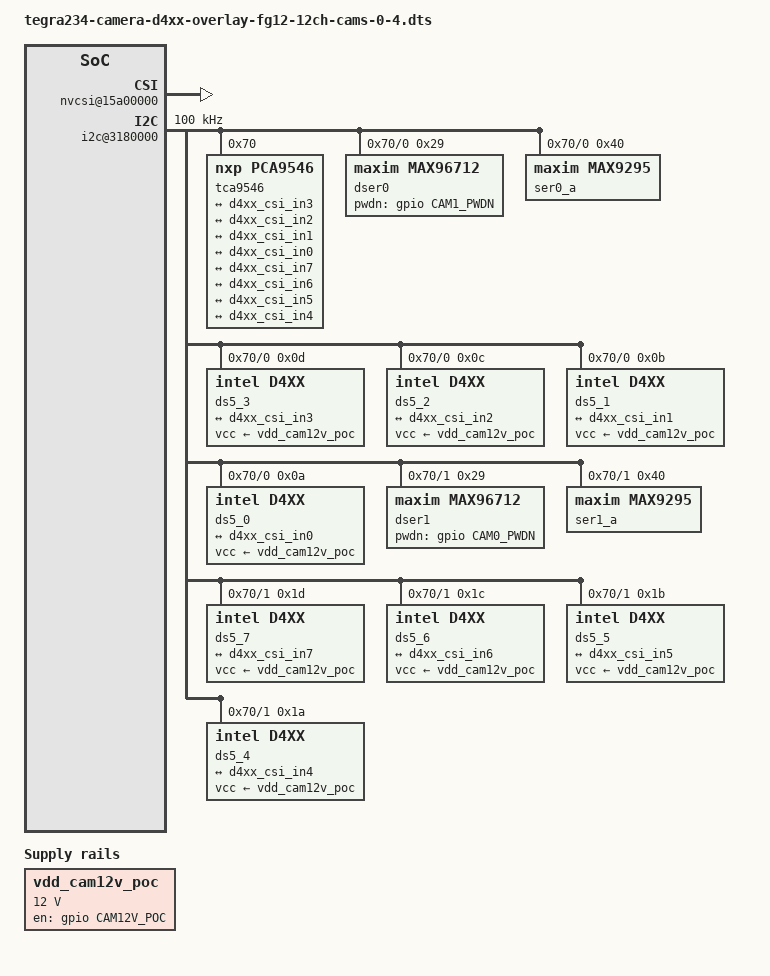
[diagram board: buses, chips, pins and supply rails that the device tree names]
// SPDX-License-Identifier: GPL-2.0-only
// SPDX-FileCopyrightText: Copyright (c) 2018-2024, NVIDIA CORPORATION & AFFILIATES. All rights reserved.

/dts-v1/;
/plugin/;

#include <dt-bindings/clock/tegra234-clock.h>
#include <dt-bindings/gpio/tegra234-gpio.h>
#include <dt-bindings/tegra234-p3737-0000+p3701-0000.h>

#define CAM12V_POC	TEGRA234_MAIN_GPIO(AC, 7) //Pin119 --- GPIO12 E10 CAM_VDD_SYS_EN/493 Low enable
#define CAMERA_I2C_MUX_BUS(x) (0x1E + x)

#define CAM0_PWDN	TEGRA234_MAIN_GPIO(H, 6)  //Pin93 --- UART4_CTS L49/397 - MAX96724_1 PWDN
#define CAM1_PWDN	TEGRA234_MAIN_GPIO(H, 3)  //Pin95 --- UART4_TX L5/394 - MAX926724_2 PWDN
#define CAM2_PWDN	TEGRA234_MAIN_GPIO(AC, 0) //Pin90 --- GPIO15 F10/486 - MAX9296_3 PWDN
#define CAM3_PWDN	TEGRA234_MAIN_GPIO(AC, 1) //Pin92 --- GPIO16 E9/487 - MAX9296_4 PWDN

#define CAM0_SYNC	TEGRA234_AON_GPIO(AA, 4)  //E59/GPIO6  CAM_FSYNC3/320 -- MAX9296_1 MFP0 (CAM0/1)
#define CAM1_SYNC	TEGRA234_AON_GPIO(BB, 2)  //A62/GPIO10 CAM_FSYNC1/326-- MAX9296_1 MFP5  (CAM0/1  ucsi_cgg IRQ OTG)
#define CAM2_SYNC	TEGRA234_AON_GPIO(CC, 3)  //D60/SPI2_CS0_N CAM_INT4/331 -- MAX9296_2 MFP0 (CAM2/3)
#define CAM3_SYNC	TEGRA234_AON_GPIO(AA, 7)  //F59/GPIO7  CAM_FSYNC2/323  -- MAX9296_2 MFP5  (CAM2/3)
#define CAM_SYNCALL	TEGRA234_AON_GPIO(CC, 0)  //E61/SPI2_CLK CAM_INT1/328 -- MAX9296x4 MFP6

//IIC-9 MAX96724-CSI4/5
//IIC-10 MAX96724-CSI0/1
//IIC-11 MAX9296-CSI6/7 (P/N Switch)
//IIC-12 MAX9296-CSI2/3 (P/N Switch)
/* camera control gpio definitions */
/ {
	overlay-name = "Orin FG12-12ch D457S";
	jetson-header-name = "Jetson AGX CSI Connector";
	compatible = JETSON_COMPATIBLE;

	fragment@1 {
		target-path = "/";
		__overlay__ {
			vdd_cam12v_poc: regulator-vdd-cam12v-poc {
					compatible = "regulator-fixed";
					regulator-name = "vdd-cam12v-poc";
					regulator-min-microvolt = <12000000>;
					regulator-max-microvolt = <12000000>;
					gpio = <&gpio CAM12V_POC GPIO_ACTIVE_HIGH>;
					enable-active-high;
			};
		};
	};

	fragment@0 {
		status = "okay";
		target-path = "/";
		__overlay__ {
			status = "okay";
			tegra-capture-vi {
				status = "okay";
				num-channels = <8>;
				ports {
					status = "okay";
					#address-cells = <1>;
					#size-cells = <0>;
					port@0 {
						status = "okay";
						reg = <0>;
						d4xx_vi_in0: endpoint {
							status = "okay";
							vc-id = <0>;
							port-index = <4>;
							bus-width = <4>;
							remote-endpoint = <&d4xx_csi_out0>;
						};
					};
					port@1 {
						status = "okay";
						reg = <1>;
						d4xx_vi_in1: endpoint {
							status = "okay";
							vc-id = <1>;
							port-index = <4>;
							bus-width = <4>;
							remote-endpoint = <&d4xx_csi_out1>;
						};
					};
					port@2 {
						status = "okay";
						reg = <2>;
						d4xx_vi_in2: endpoint {
							status = "okay";
							vc-id = <2>;
							port-index = <4>;
							bus-width = <4>;
							remote-endpoint = <&d4xx_csi_out2>;
						};
					};
					port@3 {
						status = "okay";
						reg = <3>;
						d4xx_vi_in3: endpoint {
							status = "okay";
							vc-id = <3>;
							port-index = <4>;
							bus-width = <4>;
							remote-endpoint = <&d4xx_csi_out3>;
						};
					};
					port@4 {
						status = "okay";
						reg = <4>;
						d4xx_vi_in4: endpoint {
							status = "okay";
							vc-id = <0>;
							port-index = <0>;
							bus-width = <4>;
							remote-endpoint = <&d4xx_csi_out4>;
						};
					};
					port@5 {
						status = "okay";
						reg = <5>;
						d4xx_vi_in5: endpoint {
							status = "okay";
							vc-id = <1>;
							port-index = <0>;
							bus-width = <4>;
							remote-endpoint = <&d4xx_csi_out5>;
						};
					};
					port@6 {
						status = "okay";
						reg = <6>;
						d4xx_vi_in6: endpoint {
							status = "okay";
							vc-id = <2>;
							port-index = <0>;
							bus-width = <4>;
							remote-endpoint = <&d4xx_csi_out6>;
						};
					};
					port@7 {
						status = "okay";
						reg = <7>;
						d4xx_vi_in7: endpoint {
							status = "okay";
							vc-id = <3>;
							port-index = <0>;
							bus-width = <4>;
							remote-endpoint = <&d4xx_csi_out7>;
						};
					};
				};
			};

			// tegra-camera-platform {
			// 	status = "okay";
			// 	compatible = "nvidia, tegra-camera-platform";
			// 	modules {
			// 		status = "okay";
			// 		module0 {
			// 			status = "okay";
			// 			badge = "fzcam_frontl";
			// 			position = "frontl";
			// 			orientation = "1";
			// 			drivernode0 {
			// 				status = "okay";
			// 				pcl_id = "v4l2_sensor";
			// 				sysfs-device-tree = "/sys/firmware/devicetree/base/bus@0/i2c@3180000/tca9546@70/i2c@0/fzcam_3a@3a";
			// 			};
			// 		};
			// 		module1 {
			// 			status = "okay";
			// 			badge = "fzcam_frontr";
			// 			position = "frontr";
			// 			orientation = "1";
			// 			drivernode0 {
			// 				status = "okay";
			// 				pcl_id = "v4l2_sensor";
			// 				sysfs-device-tree = "/sys/firmware/devicetree/base/bus@0/i2c@3180000/tca9546@70/i2c@0/fzcam_3b@3b";
			// 			};
			// 		};					
			// 		module2 {
			// 			status = "okay";
			// 			badge = "fzcam_frontu";
			// 			position = "frontu";
			// 			orientation = "1";
			// 			drivernode0 {
			// 				status = "okay";
			// 				pcl_id = "v4l2_sensor";
			// 				sysfs-device-tree = "/sys/firmware/devicetree/base/bus@0/i2c@3180000/tca9546@70/i2c@0/fzcam_3c@3c";
			// 			};
			// 		};					
			// 		module3 {
			// 			status = "okay";
			// 			badge = "fzcam_frontd";
			// 			position = "frontd";
			// 			orientation = "1";
			// 			drivernode0 {
			// 				status = "okay";
			// 				pcl_id = "v4l2_sensor";
			// 				sysfs-device-tree = "/sys/firmware/devicetree/base/bus@0/i2c@3180000/tca9546@70/i2c@0/fzcam_3d@3d";
			// 			};
			// 		};
			// 		module4 {
			// 			status = "okay";
			// 			badge = "fzcam_rearl";
			// 			position = "rearl";
			// 			orientation = "1";
			// 			drivernode0 {
			// 				status = "okay";
			// 				pcl_id = "v4l2_sensor";
			// 				sysfs-device-tree = "/sys/firmware/devicetree/base/bus@0/i2c@3180000/tca9546@70/i2c@1/fzcam_3a@3a";
			// 			};
			// 		};
			// 		module5 {
			// 			status = "okay";
			// 			badge = "fzcam_rearr";
			// 			position = "rearr";
			// 			orientation = "1";
			// 			drivernode0 {
			// 				status = "okay";
			// 				pcl_id = "v4l2_sensor";
			// 				sysfs-device-tree = "/sys/firmware/devicetree/base/bus@0/i2c@3180000/tca9546@70/i2c@1/fzcam_3b@3b";
			// 			};
			// 		};
			// 		module6 {
			// 			status = "okay";
			// 			badge = "fzcam_rearu";
			// 			position = "rearu";
			// 			orientation = "1";
			// 			drivernode0 {
			// 				status = "okay";
			// 				pcl_id = "v4l2_sensor";
			// 				sysfs-device-tree = "/sys/firmware/devicetree/base/bus@0/i2c@3180000/tca9546@70/i2c@1/fzcam_3c@3c";
			// 			};
			// 		};
			// 		module7 {
			// 			status = "okay";
			// 			badge = "fzcam_reard";
			// 			position = "reard";
			// 			orientation = "1";
			// 			drivernode0 {
			// 				status = "okay";
			// 				pcl_id = "v4l2_sensor";
			// 				sysfs-device-tree = "/sys/firmware/devicetree/base/bus@0/i2c@3180000/tca9546@70/i2c@1/fzcam_3d@3d";
			// 			};
			// 		};
			// 		module8 {
			// 			status = "okay";
			// 			badge = "fzcam_toprearl";
			// 			position = "toprearl";
			// 			orientation = "1";
			// 			drivernode0 {
			// 				status = "okay";
			// 				pcl_id = "v4l2_sensor";
			// 				sysfs-device-tree = "/sys/firmware/devicetree/base/bus@0/i2c@3180000/tca9546@70/i2c@2/fzcam_3a@3a";
			// 			};
			// 		};
			// 		module9 {
			// 			status = "okay";
			// 			badge = "fzcam_toprearr";
			// 			position = "toprearr";
			// 			orientation = "1";
			// 			drivernode0 {
			// 				status = "okay";
			// 				pcl_id = "v4l2_sensor";
			// 				sysfs-device-tree = "/sys/firmware/devicetree/base/bus@0/i2c@3180000/tca9546@70/i2c@2/fzcam_3b@3b";
			// 			};
			// 		};
			// 		module10 {
			// 			status = "okay";
			// 			badge = "fzcam_toprearu";
			// 			position = "toprearu";
			// 			orientation = "1";
			// 			drivernode0 {
			// 				status = "okay";
			// 				pcl_id = "v4l2_sensor";
			// 				sysfs-device-tree = "/sys/firmware/devicetree/base/bus@0/i2c@3180000/tca9546@70/i2c@2/fzcam_3c@3c";
			// 			};
			// 		};
			// 		module11 {
			// 			status = "okay";
			// 			badge = "fzcam_topreard";
			// 			position = "topreard";
			// 			orientation = "1";
			// 			drivernode0 {
			// 				status = "okay";
			// 				pcl_id = "v4l2_sensor";
			// 				sysfs-device-tree = "/sys/firmware/devicetree/base/bus@0/i2c@3180000/tca9546@70/i2c@2/fzcam_3d@3d";
			// 			};
			// 		};
			// 	};
			// };

			bus@0 {
				status = "okay";
				host1x@13e00000 {
					status = "okay";
					nvcsi@15a00000 {
						status = "okay";
						num-channels = <8>;
						#address-cells = <1>;
						#size-cells = <0>;
						channel@0 {
							status = "okay";
							reg = <0>;
							ports {
								status = "okay";
								port@0 {
									status = "okay";
									reg = <0>;
									d4xx_csi_in0: endpoint@0 {
										status = "okay";
										port-index = <4>;
										bus-width = <4>;
										remote-endpoint = <&ds5_0_out>;
									};
								};
								port@1 {
									status = "okay";
									reg = <1>;
									d4xx_csi_out0: endpoint@1 {
										status = "okay";
										remote-endpoint = <&d4xx_vi_in0>;
									};
								};
							};
						};
						channel@1 {
							status = "okay";
							reg = <1>;
							ports {
								status = "okay";
								port@0 {
									status = "okay";
									reg = <0>;
									d4xx_csi_in1: endpoint@2 {
										status = "okay";
										port-index = <4>;
										bus-width = <4>;
										remote-endpoint = <&ds5_1_out>;
									};
								};
								port@1 {
									status = "okay";
									reg = <1>;
									d4xx_csi_out1: endpoint@3 {
										status = "okay";
										remote-endpoint = <&d4xx_vi_in1>;
									};
								};
							};
						};
						channel@2 {
							status = "okay";
							reg = <2>;
							ports {
								status = "okay";
								port@0 {
									status = "okay";
									reg = <0>;
									d4xx_csi_in2: endpoint@4 {
										status = "okay";
										port-index = <4>;
										bus-width = <4>;
										remote-endpoint = <&ds5_2_out>;
									};
								};
								port@1 {
									status = "okay";
									reg = <1>;
									d4xx_csi_out2: endpoint@5 {
										status = "okay";
										remote-endpoint = <&d4xx_vi_in2>;
									};
								};
							};
						};
						channel@3 {
							status = "okay";
							reg = <3>;
							ports {
								status = "okay";
								port@0 {
									status = "okay";
									reg = <0>;
									d4xx_csi_in3: endpoint@6 {
										status = "okay";
										port-index = <4>;
										bus-width = <4>;
										remote-endpoint = <&ds5_3_out>;
									};
								};
								port@1 {
									status = "okay";
									reg = <1>;
									d4xx_csi_out3: endpoint@7 {
										status = "okay";
										remote-endpoint = <&d4xx_vi_in3>;
									};
								};
							};
						};
						channel@4 {
							status = "okay";
							reg = <4>;
							ports {
								status = "okay";
								port@0 {
									status = "okay";
									reg = <0>;
									d4xx_csi_in4: endpoint@8 {
										status = "okay";
										port-index = <0>;
										bus-width = <4>;
										remote-endpoint = <&ds5_4_out>;
									};
								};
								port@1 {
									status = "okay";
									reg = <1>;
									d4xx_csi_out4: endpoint@9 {
										status = "okay";
										remote-endpoint = <&d4xx_vi_in4>;
									};
								};
							};
						};
												channel@5 {
							status = "okay";
							reg = <5>;
							ports {
								status = "okay";
								port@0 {
									status = "okay";
									reg = <0>;
									d4xx_csi_in5: endpoint@10 {
										status = "okay";
										port-index = <0>;
										bus-width = <4>;
										remote-endpoint = <&ds5_5_out>;
									};
								};
								port@1 {
									status = "okay";
									reg = <1>;
									d4xx_csi_out5: endpoint@11 {
										status = "okay";
										remote-endpoint = <&d4xx_vi_in5>;
									};
								};
							};
						};
						channel@6 {
							status = "okay";
							reg = <6>;
							ports {
								status = "okay";
								port@0 {
									status = "okay";
									reg = <0>;
									d4xx_csi_in6: endpoint@12 {
										status = "okay";
										port-index = <0>;
										bus-width = <4>;
										remote-endpoint = <&ds5_6_out>;
									};
								};
								port@1 {
									status = "okay";
									reg = <1>;
									d4xx_csi_out6: endpoint@13 {
										status = "okay";
										remote-endpoint = <&d4xx_vi_in6>;
									};
								};
							};
						};
						channel@7 {
							status = "okay";
							reg = <7>;
							ports {
								status = "okay";
								port@0 {
									status = "okay";
									reg = <0>;
									d4xx_csi_in7: endpoint@14 {
										status = "okay";
										port-index = <0>;
										bus-width = <4>;
										remote-endpoint = <&ds5_7_out>;
									};
								};
								port@1 {
									status = "okay";
									reg = <1>;
									d4xx_csi_out7: endpoint@15 {
										status = "okay";
										remote-endpoint = <&d4xx_vi_in7>;
									};
								};
							};
						};
					};
				};	
				// /* set camera gpio direction to output */
				// gpio@2200000 {
				// 	camera-control-output-low {
				// 		gpio-hog;
				// 		output-high;
				// 		gpios = <CAM0_PWDN 0 CAM1_PWDN 0
				// 			CAM2_PWDN 0 CAM3_PWDN 0 CAM12V_POC 0>;
				// 		label = "cam0-pwdn", "cam1-pwdn",
				// 			"cam2-pwdn", "cam3-pwdn", "cam-poc";
				// 	};
				// };
				i2c@3180000 {
					status = "okay";
					clock-frequency = <100000>;
					tca9546@70 {
						status = "okay";
						reg = <0x70>;
						compatible = "nxp,pca9546";
						#address-cells = <1>;
						#size-cells = <0>;
						skip_mux_detect = "yes";
						force_bus_start = <CAMERA_I2C_MUX_BUS(0)>;

						i2c@0 {
							status = "okay";
							reg = <0>;
							i2c-mux,deselect-on-exit;
							#address-cells = <1>;
							#size-cells = <0>;
							dser0: max96712@29 {
								status = "okay";
								reg = <0x29>;
								compatible = "maxim,max96712";
								csi-mode = "2x4";
								/* 4-lane CSI output towards the Jetson (1300 Mbps/lane). */
								lane_cnt = <4>;
								link-mask = <0x1>;
								channel = "a";
								pwdn-gpios = <&gpio CAM1_PWDN GPIO_ACTIVE_HIGH>;
								fangzhu,fg12-12ch-poc-enable;
								maxim,link0-vc-remap = <0 0>, <1 1>, <2 2>, <3 3>;
							};

							ser0_a: max9295_a@40 {
								status = "okay";
								reg = <0x40>;
								compatible = "maxim,max9295";
								maxim,gmsl-link-id = <0>;
								maxim,gmsl-dser-device = <&dser0>;
							};

							ds5_3: ds5@0d {
								status = "okay";
								def-addr = <0x10>;
								reg = <0x0d>;
								override_reg = <0x0a>;
								compatible = "intel,d4xx";
								use_sensor_mode_id = "true";
								vcc-supply = <&vdd_cam12v_poc>;
								cam-type = "IMU";
								nvidia,gmsl-ser-device = <&ser0_a>;
								nvidia,gmsl-dser-device = <&dser0>;
								ports {
									#address-cells = <1>;
									#size-cells = <0>;

									port@0 {
										reg = <0>;
										ds5_3_out: endpoint {
											vc-id = <3>;
											port-index = <4>;
											bus-width = <2>;
											remote-endpoint = <&d4xx_csi_in3>;
										};
									};
								};
								mode0 {
									pixel_t = "grey_y16";
									num_lanes = "4";
									csi_pixel_bit_depth = "16";
									active_w = "640";
									active_h = "480";
									tegra_sinterface = "serial_e";
									mclk_khz = "24000";
									pix_clk_hz = "74250000";
									serdes_pix_clk_hz = "325000000"; /* 4 lanes x 1300 Mbps / 16 bpp */
									line_length = "1280"; /* 2200 */
									embedded_metadata_height = "0";
								};
								gmsl-link {
									src-csi-port = "b";
									dst-csi-port = "a";
									serdes-csi-link = "a";
									csi-mode = "1x4";
									st-vc = <0>;
									vc-id = <3>;
									num-lanes = <2>;
								};
							};

							ds5_2: ds5@0c {
								status = "okay";
								def-addr = <0x10>;
								reg = <0x0c>;
								override_reg = <0x0a>;
								compatible = "intel,d4xx";
								use_sensor_mode_id = "true";
								vcc-supply = <&vdd_cam12v_poc>;
								cam-type = "Y8";
								nvidia,gmsl-ser-device = <&ser0_a>;
								nvidia,gmsl-dser-device = <&dser0>;
								ports {
									#address-cells = <1>;
									#size-cells = <0>;

									port@0 {
										reg = <0>;
										ds5_2_out: endpoint {
											vc-id = <2>;
											port-index = <4>;
											bus-width = <2>;
											remote-endpoint = <&d4xx_csi_in2>;
										};
									};
								};
								/* mode0: Y8, mode1: depth D16 */
								mode0 {
									pixel_t = "grey_y16";
									num_lanes = "4";
									csi_pixel_bit_depth = "16";
									active_w = "1280";
									active_h = "720";
									tegra_sinterface = "serial_e";
									mclk_khz = "24000";
									pix_clk_hz = "74250000";
									serdes_pix_clk_hz = "325000000"; /* 4 lanes x 1300 Mbps / 16 bpp */
									line_length = "1280"; /* 2200 */
									embedded_metadata_height = "1";
								};
								gmsl-link {
									src-csi-port = "b";
									dst-csi-port = "a";
									serdes-csi-link = "a";
									csi-mode = "1x4";
									st-vc = <0>;
									vc-id = <2>;
									num-lanes = <2>;
								};
							};

							ds5_1: ds5@0b {
								status = "okay";
								def-addr = <0x10>;
								reg = <0x0b>;
								override_reg = <0x0a>;
								compatible = "intel,d4xx";
								use_sensor_mode_id = "true";
								vcc-supply = <&vdd_cam12v_poc>;
								cam-type = "RGB";
								nvidia,gmsl-ser-device = <&ser0_a>;
								nvidia,gmsl-dser-device = <&dser0>;
								ports {
									#address-cells = <1>;
									#size-cells = <0>;

									port@0 {
										reg = <0>;
										ds5_1_out: endpoint {
											vc-id = <1>;
											port-index = <4>;
											bus-width = <2>;
											remote-endpoint = <&d4xx_csi_in1>;
										};
									};
								};
								mode0 {
									pixel_t = "grey_y16";
									num_lanes = "4";
									csi_pixel_bit_depth = "16";
									active_w = "1920";
									active_h = "1080";
									tegra_sinterface = "serial_e";
									mclk_khz = "24000";
									pix_clk_hz = "74250000";
									serdes_pix_clk_hz = "325000000"; /* 4 lanes x 1300 Mbps / 16 bpp */
									line_length = "1280"; /* 2200 */
									embedded_metadata_height = "1";
								};
								gmsl-link {
									src-csi-port = "b";
									dst-csi-port = "a";
									serdes-csi-link = "a";
									csi-mode = "1x4";
									st-vc = <0>;
									vc-id = <1>;
									num-lanes = <2>;
								};
							};

							ds5_0: ds5@0a {
								status = "okay";
								def-addr = <0x10>;
								reg = <0x0a>;
								compatible = "intel,d4xx";
								use_sensor_mode_id = "true";
								vcc-supply = <&vdd_cam12v_poc>;
								cam-type = "Depth";
								nvidia,gmsl-ser-device = <&ser0_a>;
								nvidia,gmsl-dser-device = <&dser0>;
								ports {
									#address-cells = <1>;
									#size-cells = <0>;

									port@0 {
										reg = <0>;
										ds5_0_out: endpoint {
											vc-id = <0>;
											port-index = <4>;
											bus-width = <2>;
											remote-endpoint = <&d4xx_csi_in0>;
										};
									};
								};
								mode0 {
									pixel_t = "grey_y16";
									num_lanes = "4";
									csi_pixel_bit_depth = "16";
									active_w = "1280";
									active_h = "720";
									tegra_sinterface = "serial_e";
									mclk_khz = "24000";
									pix_clk_hz = "74250000";
									serdes_pix_clk_hz = "325000000"; /* 4 lanes x 1300 Mbps / 16 bpp */
									line_length = "1280"; /* 2200 */
									embedded_metadata_height = "1";
								};
								gmsl-link {
									src-csi-port = "b";
									dst-csi-port = "a";
									serdes-csi-link = "a";
									csi-mode = "1x4";
									st-vc = <0>;
									vc-id = <0>;
									num-lanes = <2>;
								};
							};
						};
						i2c@1 {
							status = "okay";
							reg = <1>;
							i2c-mux,deselect-on-exit;
							#address-cells = <1>;
							#size-cells = <0>;
							dser1: max96712@29 {
								status = "okay";
								reg = <0x29>;
								compatible = "maxim,max96712";
								csi-mode = "2x4";
								/* 4-lane CSI output towards the Jetson (1300 Mbps/lane). */
								lane_cnt = <4>;
								link-mask = <0x1>;
								channel = "b";
								pwdn-gpios = <&gpio CAM0_PWDN GPIO_ACTIVE_HIGH>;
								fangzhu,fg12-12ch-poc-enable;
								maxim,link0-vc-remap = <0 0>, <1 1>, <2 2>, <3 3>;
							};

							ser1_a: max9295_a@40 {
								status = "okay";
								reg = <0x40>;
								compatible = "maxim,max9295";
								maxim,gmsl-link-id = <0>;
								maxim,gmsl-dser-device = <&dser1>;
							};
							
							ds5_7: ds5@1d {
								status = "okay";
								def-addr = <0x10>;
								reg = <0x1d>;
								override_reg = <0x1a>;
								compatible = "intel,d4xx";
								use_sensor_mode_id = "true";
								vcc-supply = <&vdd_cam12v_poc>;
								cam-type = "IMU";
								nvidia,gmsl-ser-device = <&ser1_a>;
								nvidia,gmsl-dser-device = <&dser1>;
								ports {
									#address-cells = <1>;
									#size-cells = <0>;

									port@0 {
										reg = <0>;
										ds5_7_out: endpoint {
											vc-id = <3>;
											port-index = <0>;
											bus-width = <2>;
											remote-endpoint = <&d4xx_csi_in7>;
										};
									};
								};
								mode0 {
									pixel_t = "grey_y16";
									num_lanes = "4";
									csi_pixel_bit_depth = "16";
									active_w = "640";
									active_h = "480";
									tegra_sinterface = "serial_a";
									mclk_khz = "24000";
									pix_clk_hz = "74250000";
									serdes_pix_clk_hz = "325000000"; /* 4 lanes x 1300 Mbps / 16 bpp */
									line_length = "1280"; /* 2200 */
									embedded_metadata_height = "0";
								};
								gmsl-link {
									src-csi-port = "b";
									dst-csi-port = "c";
									serdes-csi-link = "a";
									csi-mode = "1x4";
									st-vc = <0>;
									vc-id = <3>;
									num-lanes = <2>;
								};
							};

							ds5_6: ds5@1c {
								status = "okay";
								def-addr = <0x10>;
								reg = <0x1c>;
								override_reg = <0x1a>;
								compatible = "intel,d4xx";
								use_sensor_mode_id = "true";
								vcc-supply = <&vdd_cam12v_poc>;
								cam-type = "Y8";
								nvidia,gmsl-ser-device = <&ser1_a>;
								nvidia,gmsl-dser-device = <&dser1>;
								ports {
									#address-cells = <1>;
									#size-cells = <0>;

									port@0 {
										reg = <0>;
										ds5_6_out: endpoint {
											vc-id = <2>;
											port-index = <0>;
											bus-width = <2>;
											remote-endpoint = <&d4xx_csi_in6>;
										};
									};
								};
								/* mode0: Y8, mode1: depth D16 */
								mode0 {
									pixel_t = "grey_y16";
									num_lanes = "4";
									csi_pixel_bit_depth = "16";
									active_w = "1280";
									active_h = "720";
									tegra_sinterface = "serial_a";
									mclk_khz = "24000";
									pix_clk_hz = "74250000";
									serdes_pix_clk_hz = "325000000"; /* 4 lanes x 1300 Mbps / 16 bpp */
									line_length = "1280"; /* 2200 */
									embedded_metadata_height = "1";
								};
								gmsl-link {
									src-csi-port = "b";
									dst-csi-port = "c";
									serdes-csi-link = "a";
									csi-mode = "1x4";
									st-vc = <0>;
									vc-id = <2>;
									num-lanes = <2>;
								};
							};

							ds5_5: ds5@1b {
								status = "okay";
								def-addr = <0x10>;
								reg = <0x1b>;
								override_reg = <0x1a>;
								compatible = "intel,d4xx";
								use_sensor_mode_id = "true";
								vcc-supply = <&vdd_cam12v_poc>;
								cam-type = "RGB";
								nvidia,gmsl-ser-device = <&ser1_a>;
								nvidia,gmsl-dser-device = <&dser1>;
								ports {
									#address-cells = <1>;
									#size-cells = <0>;

									port@0 {
										reg = <0>;
										ds5_5_out: endpoint {
											vc-id = <1>;
											port-index = <0>;
											bus-width = <2>;
											remote-endpoint = <&d4xx_csi_in5>;
										};
									};
								};
								mode0 {
									pixel_t = "grey_y16";
									num_lanes = "4";
									csi_pixel_bit_depth = "16";
									active_w = "1920";
									active_h = "1080";
									tegra_sinterface = "serial_a";
									mclk_khz = "24000";
									pix_clk_hz = "74250000";
									serdes_pix_clk_hz = "325000000"; /* 4 lanes x 1300 Mbps / 16 bpp */
									line_length = "1280"; /* 2200 */
									embedded_metadata_height = "1";
								};
								gmsl-link {
									src-csi-port = "b";
									dst-csi-port = "c";
									serdes-csi-link = "a";
									csi-mode = "1x4";
									st-vc = <0>;
									vc-id = <1>;
									num-lanes = <2>;
								};
							};

							ds5_4: ds5@1a {
								status = "okay";
								def-addr = <0x10>;
								reg = <0x1a>;
								compatible = "intel,d4xx";
								use_sensor_mode_id = "true";
								vcc-supply = <&vdd_cam12v_poc>;
								cam-type = "Depth";
								nvidia,gmsl-ser-device = <&ser1_a>;
								nvidia,gmsl-dser-device = <&dser1>;
								ports {
									#address-cells = <1>;
									#size-cells = <0>;

									port@0 {
										reg = <0>;
										ds5_4_out: endpoint {
											vc-id = <0>;
											port-index = <0>;
											bus-width = <2>;
											remote-endpoint = <&d4xx_csi_in4>;
										};
									};
								};
								mode0 {
									pixel_t = "grey_y16";
									num_lanes = "4";
									csi_pixel_bit_depth = "16";
									active_w = "1280";
									active_h = "720";
									tegra_sinterface = "serial_a";
									mclk_khz = "24000";
									pix_clk_hz = "74250000";
									serdes_pix_clk_hz = "325000000"; /* 4 lanes x 1300 Mbps / 16 bpp */
									line_length = "1280"; /* 2200 */
									embedded_metadata_height = "1";
								};
								gmsl-link {
									src-csi-port = "b";
									dst-csi-port = "c";
									serdes-csi-link = "a";
									csi-mode = "1x4";
									st-vc = <0>;
									vc-id = <0>;
									num-lanes = <2>;
								};
							};
						};
					};
				};
			};
		};
	};
};
